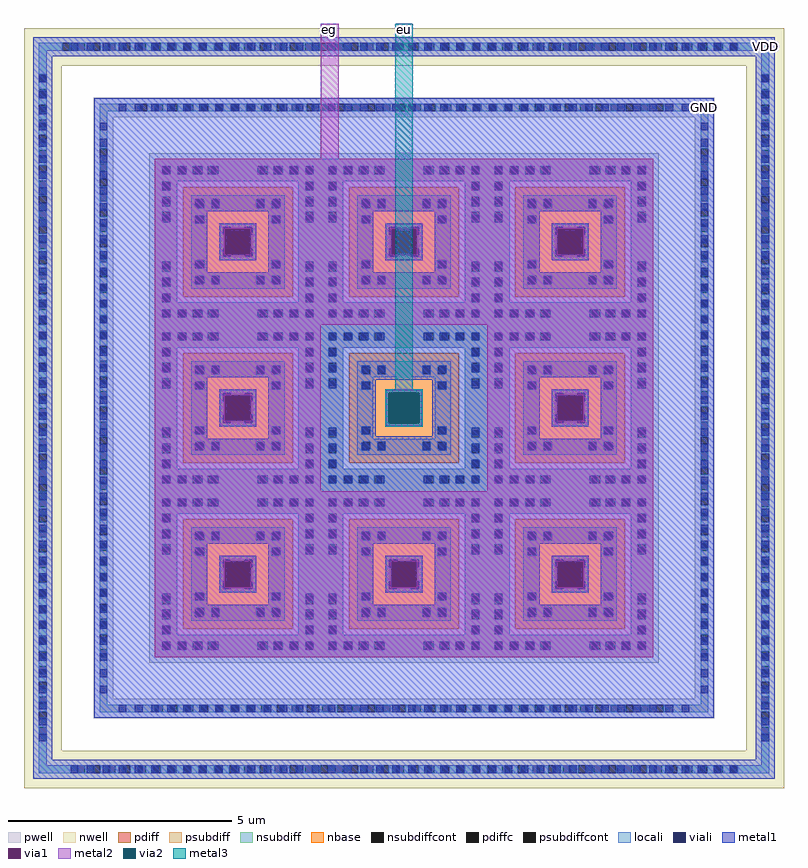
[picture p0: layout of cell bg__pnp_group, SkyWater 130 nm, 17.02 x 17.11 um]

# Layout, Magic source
magic
tech sky130A
magscale 1 2
<< metal1 >>
rect 42 3278 3362 3362
rect 42 126 126 3278
rect 314 2583 3090 3090
rect 314 2309 821 2583
rect 1095 2309 1565 2583
rect 1839 2309 2309 2583
rect 2583 2309 3090 2583
rect 314 1839 3090 2309
rect 314 1565 821 1839
rect 1095 1829 2309 1839
rect 1095 1575 1575 1829
rect 1829 1575 2309 1829
rect 1095 1565 2309 1575
rect 2583 1565 3090 1839
rect 314 1095 3090 1565
rect 314 821 821 1095
rect 1095 821 1565 1095
rect 1839 821 2309 1095
rect 2583 821 3090 1095
rect 314 314 3090 821
rect 3278 126 3362 3278
rect 42 42 3362 126
<< via1 >>
rect 900 2388 1016 2504
rect 1644 2388 1760 2504
rect 2388 2388 2504 2504
rect 900 1644 1016 1760
rect 1644 1644 1760 1760
rect 2388 1644 2504 1760
rect 900 900 1016 1016
rect 1644 900 1760 1016
rect 2388 900 2504 1016
<< metal2 >>
rect 1330 2818 1410 3422
rect 586 2504 2818 2818
rect 586 2388 900 2504
rect 1016 2388 1644 2504
rect 1760 2388 2388 2504
rect 2504 2388 2818 2504
rect 586 2074 2818 2388
rect 586 1760 1330 2074
rect 586 1644 900 1760
rect 1016 1644 1330 1760
rect 586 1330 1330 1644
rect 1619 1770 1785 1785
rect 1619 1634 1634 1770
rect 1770 1634 1785 1770
rect 1619 1619 1785 1634
rect 2074 1760 2818 2074
rect 2074 1644 2388 1760
rect 2504 1644 2818 1760
rect 2074 1330 2818 1644
rect 586 1016 2818 1330
rect 586 900 900 1016
rect 1016 900 1644 1016
rect 1760 900 2388 1016
rect 2504 900 2818 1016
rect 586 586 2818 900
<< via2 >>
rect 1634 1760 1770 1770
rect 1634 1644 1644 1760
rect 1644 1644 1760 1760
rect 1760 1644 1770 1760
rect 1634 1634 1770 1644
<< metal3 >>
rect 1662 1785 1742 3422
rect 1619 1770 1785 1785
rect 1619 1634 1634 1770
rect 1770 1634 1785 1770
rect 1619 1619 1785 1634
use bgpg__Guardring_N  bgpg__Guardring_N_0
transform 1 0 586 0 1 586
box -273 -273 2505 2505
use bgpg__Guardring_P  bgpg__Guardring_P_0
transform 1 0 314 0 1 294
box -314 -294 3090 3110
use bgpg__pnp  bgpg__pnp_0
transform 1 0 2048 0 1 560
box 0 0 796 796
use bgpg__pnp  bgpg__pnp_1
transform 1 0 560 0 1 560
box 0 0 796 796
use bgpg__pnp  bgpg__pnp_2
transform 1 0 560 0 1 2048
box 0 0 796 796
use bgpg__pnp  bgpg__pnp_3
transform 1 0 2048 0 1 2048
box 0 0 796 796
use bgpg__pnp  bgpg__pnp_4
transform 1 0 2048 0 1 1304
box 0 0 796 796
use bgpg__pnp  bgpg__pnp_5
transform 1 0 1304 0 1 2048
box 0 0 796 796
use bgpg__pnp  bgpg__pnp_6
transform 1 0 1304 0 1 1304
box 0 0 796 796
use bgpg__pnp  bgpg__pnp_7
transform 1 0 560 0 1 1304
box 0 0 796 796
use bgpg__pnp  bgpg__pnp_8
transform 1 0 1304 0 1 560
box 0 0 796 796
use via__LI_M1  via__LI_M1_0
transform 0 1 3297 -1 0 321
box -6 -6 124 52
use via__LI_M1  via__LI_M1_1
transform 0 1 3297 -1 0 465
box -6 -6 124 52
use via__LI_M1  via__LI_M1_2
transform 0 1 3297 -1 0 609
box -6 -6 124 52
use via__LI_M1  via__LI_M1_3
transform 0 1 3297 -1 0 753
box -6 -6 124 52
use via__LI_M1  via__LI_M1_4
transform 0 1 3297 -1 0 897
box -6 -6 124 52
use via__LI_M1  via__LI_M1_5
transform 0 1 3297 -1 0 1041
box -6 -6 124 52
use via__LI_M1  via__LI_M1_6
transform 0 1 3297 -1 0 1185
box -6 -6 124 52
use via__LI_M1  via__LI_M1_7
transform 0 1 3297 -1 0 1329
box -6 -6 124 52
use via__LI_M1  via__LI_M1_8
transform 0 1 3297 -1 0 1473
box -6 -6 124 52
use via__LI_M1  via__LI_M1_9
transform 0 1 3297 -1 0 1617
box -6 -6 124 52
use via__LI_M1  via__LI_M1_10
transform 1 0 2075 0 1 61
box -6 -6 124 52
use via__LI_M1  via__LI_M1_11
transform 1 0 1931 0 1 61
box -6 -6 124 52
use via__LI_M1  via__LI_M1_12
transform 1 0 1787 0 1 61
box -6 -6 124 52
use via__LI_M1  via__LI_M1_13
transform 0 1 3025 -1 0 1113
box -6 -6 124 52
use via__LI_M1  via__LI_M1_14
transform 0 1 3025 -1 0 969
box -6 -6 124 52
use via__LI_M1  via__LI_M1_15
transform 0 1 3025 -1 0 825
box -6 -6 124 52
use via__LI_M1  via__LI_M1_16
transform 0 1 3025 -1 0 681
box -6 -6 124 52
use via__LI_M1  via__LI_M1_17
transform 1 0 2579 0 1 333
box -6 -6 124 52
use via__LI_M1  via__LI_M1_18
transform 1 0 2435 0 1 333
box -6 -6 124 52
use via__LI_M1  via__LI_M1_19
transform 1 0 2291 0 1 333
box -6 -6 124 52
use via__LI_M1  via__LI_M1_20
transform 1 0 2147 0 1 333
box -6 -6 124 52
use via__LI_M1  via__LI_M1_21
transform 1 0 2003 0 1 333
box -6 -6 124 52
use via__LI_M1  via__LI_M1_22
transform 1 0 1859 0 1 333
box -6 -6 124 52
use via__LI_M1  via__LI_M1_23
transform 1 0 1715 0 1 333
box -6 -6 124 52
use via__LI_M1  via__LI_M1_24
transform 0 1 3025 -1 0 537
box -6 -6 124 52
use via__LI_M1  via__LI_M1_25
transform 1 0 2867 0 1 333
box -6 -6 124 52
use via__LI_M1  via__LI_M1_26
transform 1 0 2723 0 1 333
box -6 -6 124 52
use via__LI_M1  via__LI_M1_27
transform 0 1 3025 -1 0 1689
box -6 -6 124 52
use via__LI_M1  via__LI_M1_28
transform 0 1 3025 -1 0 1545
box -6 -6 124 52
use via__LI_M1  via__LI_M1_29
transform 0 1 3025 -1 0 1401
box -6 -6 124 52
use via__LI_M1  via__LI_M1_30
transform 0 1 3025 -1 0 1257
box -6 -6 124 52
use via__LI_M1  via__LI_M1_31
transform 1 0 3083 0 1 61
box -6 -6 124 52
use via__LI_M1  via__LI_M1_32
transform 1 0 2939 0 1 61
box -6 -6 124 52
use via__LI_M1  via__LI_M1_33
transform 1 0 2795 0 1 61
box -6 -6 124 52
use via__LI_M1  via__LI_M1_34
transform 1 0 2651 0 1 61
box -6 -6 124 52
use via__LI_M1  via__LI_M1_35
transform 1 0 2507 0 1 61
box -6 -6 124 52
use via__LI_M1  via__LI_M1_36
transform 1 0 2363 0 1 61
box -6 -6 124 52
use via__LI_M1  via__LI_M1_37
transform 1 0 2219 0 1 61
box -6 -6 124 52
use via__LI_M1  via__LI_M1_38
transform 0 1 333 -1 0 537
box -6 -6 124 52
use via__LI_M1  via__LI_M1_39
transform 0 1 61 -1 0 321
box -6 -6 124 52
use via__LI_M1  via__LI_M1_40
transform 0 1 61 -1 0 465
box -6 -6 124 52
use via__LI_M1  via__LI_M1_41
transform 0 1 61 -1 0 609
box -6 -6 124 52
use via__LI_M1  via__LI_M1_42
transform 0 1 61 -1 0 753
box -6 -6 124 52
use via__LI_M1  via__LI_M1_43
transform 0 1 61 -1 0 897
box -6 -6 124 52
use via__LI_M1  via__LI_M1_44
transform 0 1 61 -1 0 1041
box -6 -6 124 52
use via__LI_M1  via__LI_M1_45
transform 0 1 61 -1 0 1185
box -6 -6 124 52
use via__LI_M1  via__LI_M1_46
transform 0 1 61 -1 0 1329
box -6 -6 124 52
use via__LI_M1  via__LI_M1_47
transform 0 1 61 -1 0 1473
box -6 -6 124 52
use via__LI_M1  via__LI_M1_48
transform 0 1 61 -1 0 1617
box -6 -6 124 52
use via__LI_M1  via__LI_M1_49
transform 1 0 419 0 1 333
box -6 -6 124 52
use via__LI_M1  via__LI_M1_50
transform 0 1 333 -1 0 1113
box -6 -6 124 52
use via__LI_M1  via__LI_M1_51
transform 0 1 333 -1 0 969
box -6 -6 124 52
use via__LI_M1  via__LI_M1_52
transform 0 1 333 -1 0 825
box -6 -6 124 52
use via__LI_M1  via__LI_M1_53
transform 0 1 333 -1 0 681
box -6 -6 124 52
use via__LI_M1  via__LI_M1_54
transform 1 0 1499 0 1 61
box -6 -6 124 52
use via__LI_M1  via__LI_M1_55
transform 1 0 1355 0 1 61
box -6 -6 124 52
use via__LI_M1  via__LI_M1_56
transform 1 0 1211 0 1 61
box -6 -6 124 52
use via__LI_M1  via__LI_M1_57
transform 1 0 1067 0 1 61
box -6 -6 124 52
use via__LI_M1  via__LI_M1_58
transform 1 0 923 0 1 61
box -6 -6 124 52
use via__LI_M1  via__LI_M1_59
transform 1 0 779 0 1 61
box -6 -6 124 52
use via__LI_M1  via__LI_M1_60
transform 1 0 635 0 1 61
box -6 -6 124 52
use via__LI_M1  via__LI_M1_61
transform 1 0 491 0 1 61
box -6 -6 124 52
use via__LI_M1  via__LI_M1_62
transform 1 0 347 0 1 61
box -6 -6 124 52
use via__LI_M1  via__LI_M1_63
transform 1 0 203 0 1 61
box -6 -6 124 52
use via__LI_M1  via__LI_M1_64
transform 1 0 995 0 1 333
box -6 -6 124 52
use via__LI_M1  via__LI_M1_65
transform 1 0 851 0 1 333
box -6 -6 124 52
use via__LI_M1  via__LI_M1_66
transform 1 0 707 0 1 333
box -6 -6 124 52
use via__LI_M1  via__LI_M1_67
transform 1 0 563 0 1 333
box -6 -6 124 52
use via__LI_M1  via__LI_M1_68
transform 1 0 1571 0 1 333
box -6 -6 124 52
use via__LI_M1  via__LI_M1_69
transform 1 0 1427 0 1 333
box -6 -6 124 52
use via__LI_M1  via__LI_M1_70
transform 1 0 1283 0 1 333
box -6 -6 124 52
use via__LI_M1  via__LI_M1_71
transform 1 0 1139 0 1 333
box -6 -6 124 52
use via__LI_M1  via__LI_M1_72
transform 0 1 333 -1 0 1689
box -6 -6 124 52
use via__LI_M1  via__LI_M1_73
transform 0 1 333 -1 0 1545
box -6 -6 124 52
use via__LI_M1  via__LI_M1_74
transform 0 1 333 -1 0 1401
box -6 -6 124 52
use via__LI_M1  via__LI_M1_75
transform 0 1 333 -1 0 1257
box -6 -6 124 52
use via__LI_M1  via__LI_M1_76
transform 0 1 61 -1 0 1905
box -6 -6 124 52
use via__LI_M1  via__LI_M1_77
transform 0 1 61 -1 0 2049
box -6 -6 124 52
use via__LI_M1  via__LI_M1_78
transform 0 1 61 -1 0 2193
box -6 -6 124 52
use via__LI_M1  via__LI_M1_79
transform 0 1 61 -1 0 2337
box -6 -6 124 52
use via__LI_M1  via__LI_M1_80
transform 0 1 61 -1 0 2481
box -6 -6 124 52
use via__LI_M1  via__LI_M1_81
transform 0 1 61 -1 0 2625
box -6 -6 124 52
use via__LI_M1  via__LI_M1_82
transform 0 1 61 -1 0 2769
box -6 -6 124 52
use via__LI_M1  via__LI_M1_83
transform 0 1 61 -1 0 2913
box -6 -6 124 52
use via__LI_M1  via__LI_M1_84
transform 0 1 61 -1 0 3057
box -6 -6 124 52
use via__LI_M1  via__LI_M1_85
transform 0 1 61 -1 0 3201
box -6 -6 124 52
use via__LI_M1  via__LI_M1_86
transform 1 0 1139 0 1 3025
box -6 -6 124 52
use via__LI_M1  via__LI_M1_87
transform 1 0 995 0 1 3025
box -6 -6 124 52
use via__LI_M1  via__LI_M1_88
transform 1 0 851 0 1 3025
box -6 -6 124 52
use via__LI_M1  via__LI_M1_89
transform 1 0 707 0 1 3025
box -6 -6 124 52
use via__LI_M1  via__LI_M1_90
transform 1 0 563 0 1 3025
box -6 -6 124 52
use via__LI_M1  via__LI_M1_91
transform 1 0 1499 0 1 3297
box -6 -6 124 52
use via__LI_M1  via__LI_M1_92
transform 1 0 1355 0 1 3297
box -6 -6 124 52
use via__LI_M1  via__LI_M1_93
transform 1 0 1211 0 1 3297
box -6 -6 124 52
use via__LI_M1  via__LI_M1_94
transform 1 0 1067 0 1 3297
box -6 -6 124 52
use via__LI_M1  via__LI_M1_95
transform 1 0 923 0 1 3297
box -6 -6 124 52
use via__LI_M1  via__LI_M1_96
transform 1 0 779 0 1 3297
box -6 -6 124 52
use via__LI_M1  via__LI_M1_97
transform 1 0 635 0 1 3297
box -6 -6 124 52
use via__LI_M1  via__LI_M1_98
transform 1 0 491 0 1 3297
box -6 -6 124 52
use via__LI_M1  via__LI_M1_99
transform 1 0 347 0 1 3297
box -6 -6 124 52
use via__LI_M1  via__LI_M1_100
transform 1 0 203 0 1 3297
box -6 -6 124 52
use via__LI_M1  via__LI_M1_101
transform 0 1 333 -1 0 2841
box -6 -6 124 52
use via__LI_M1  via__LI_M1_102
transform 0 1 333 -1 0 2697
box -6 -6 124 52
use via__LI_M1  via__LI_M1_103
transform 0 1 333 -1 0 2553
box -6 -6 124 52
use via__LI_M1  via__LI_M1_104
transform 0 1 333 -1 0 2409
box -6 -6 124 52
use via__LI_M1  via__LI_M1_105
transform 0 1 333 -1 0 2265
box -6 -6 124 52
use via__LI_M1  via__LI_M1_106
transform 0 1 333 -1 0 2121
box -6 -6 124 52
use via__LI_M1  via__LI_M1_107
transform 0 1 333 -1 0 1977
box -6 -6 124 52
use via__LI_M1  via__LI_M1_108
transform 0 1 333 -1 0 1833
box -6 -6 124 52
use via__LI_M1  via__LI_M1_109
transform 1 0 419 0 1 3025
box -6 -6 124 52
use via__LI_M1  via__LI_M1_110
transform 0 1 333 -1 0 2985
box -6 -6 124 52
use via__LI_M1  via__LI_M1_111
transform 1 0 1571 0 1 3025
box -6 -6 124 52
use via__LI_M1  via__LI_M1_112
transform 1 0 1427 0 1 3025
box -6 -6 124 52
use via__LI_M1  via__LI_M1_113
transform 1 0 1283 0 1 3025
box -6 -6 124 52
use via__LI_M1  via__LI_M1_114
transform 0 1 3025 -1 0 2265
box -6 -6 124 52
use via__LI_M1  via__LI_M1_115
transform 0 1 3297 -1 0 1905
box -6 -6 124 52
use via__LI_M1  via__LI_M1_116
transform 0 1 3297 -1 0 2049
box -6 -6 124 52
use via__LI_M1  via__LI_M1_117
transform 0 1 3297 -1 0 2193
box -6 -6 124 52
use via__LI_M1  via__LI_M1_118
transform 0 1 3297 -1 0 2337
box -6 -6 124 52
use via__LI_M1  via__LI_M1_119
transform 0 1 3297 -1 0 2481
box -6 -6 124 52
use via__LI_M1  via__LI_M1_120
transform 0 1 3297 -1 0 2625
box -6 -6 124 52
use via__LI_M1  via__LI_M1_121
transform 0 1 3297 -1 0 2769
box -6 -6 124 52
use via__LI_M1  via__LI_M1_122
transform 0 1 3297 -1 0 2913
box -6 -6 124 52
use via__LI_M1  via__LI_M1_123
transform 0 1 3297 -1 0 3057
box -6 -6 124 52
use via__LI_M1  via__LI_M1_124
transform 0 1 3297 -1 0 3201
box -6 -6 124 52
use via__LI_M1  via__LI_M1_125
transform 0 1 3025 -1 0 2121
box -6 -6 124 52
use via__LI_M1  via__LI_M1_126
transform 0 1 3025 -1 0 1977
box -6 -6 124 52
use via__LI_M1  via__LI_M1_127
transform 1 0 3083 0 1 3297
box -6 -6 124 52
use via__LI_M1  via__LI_M1_128
transform 1 0 2939 0 1 3297
box -6 -6 124 52
use via__LI_M1  via__LI_M1_129
transform 1 0 2795 0 1 3297
box -6 -6 124 52
use via__LI_M1  via__LI_M1_130
transform 1 0 2651 0 1 3297
box -6 -6 124 52
use via__LI_M1  via__LI_M1_131
transform 1 0 2507 0 1 3297
box -6 -6 124 52
use via__LI_M1  via__LI_M1_132
transform 1 0 2363 0 1 3297
box -6 -6 124 52
use via__LI_M1  via__LI_M1_133
transform 1 0 2219 0 1 3297
box -6 -6 124 52
use via__LI_M1  via__LI_M1_134
transform 1 0 2075 0 1 3297
box -6 -6 124 52
use via__LI_M1  via__LI_M1_135
transform 1 0 1931 0 1 3297
box -6 -6 124 52
use via__LI_M1  via__LI_M1_136
transform 1 0 1787 0 1 3297
box -6 -6 124 52
use via__LI_M1  via__LI_M1_137
transform 0 1 3025 -1 0 1833
box -6 -6 124 52
use via__LI_M1  via__LI_M1_138
transform 1 0 2867 0 1 3025
box -6 -6 124 52
use via__LI_M1  via__LI_M1_139
transform 1 0 2723 0 1 3025
box -6 -6 124 52
use via__LI_M1  via__LI_M1_140
transform 1 0 2579 0 1 3025
box -6 -6 124 52
use via__LI_M1  via__LI_M1_141
transform 1 0 2435 0 1 3025
box -6 -6 124 52
use via__LI_M1  via__LI_M1_142
transform 1 0 2291 0 1 3025
box -6 -6 124 52
use via__LI_M1  via__LI_M1_143
transform 1 0 2147 0 1 3025
box -6 -6 124 52
use via__LI_M1  via__LI_M1_144
transform 1 0 2003 0 1 3025
box -6 -6 124 52
use via__LI_M1  via__LI_M1_145
transform 1 0 1859 0 1 3025
box -6 -6 124 52
use via__LI_M1  via__LI_M1_146
transform 1 0 1715 0 1 3025
box -6 -6 124 52
use via__LI_M1  via__LI_M1_147
transform 0 1 3025 -1 0 2985
box -6 -6 124 52
use via__LI_M1  via__LI_M1_148
transform 0 1 3025 -1 0 2841
box -6 -6 124 52
use via__LI_M1  via__LI_M1_149
transform 0 1 3025 -1 0 2697
box -6 -6 124 52
use via__LI_M1  via__LI_M1_150
transform 0 1 3025 -1 0 2553
box -6 -6 124 52
use via__LI_M1  via__LI_M1_151
transform 0 1 3025 -1 0 2409
box -6 -6 124 52
use via__LI_M1  via__LI_M1_152
transform 0 1 3297 -1 0 1761
box -6 -6 124 52
use via__LI_M1  via__LI_M1_153
transform 0 1 61 -1 0 1761
box -6 -6 124 52
use via__LI_M1  via__LI_M1_154
transform 1 0 1643 0 1 61
box -6 -6 124 52
use via__LI_M1  via__LI_M1_155
transform 1 0 1643 0 1 3297
box -6 -6 124 52
<< labels >>
flabel metal1 s 3006 3006 3090 3090 1 FreeSans 100 0 0 0 GND
port 3 nsew
flabel metal1 s 3278 3278 3362 3362 1 FreeSans 100 0 0 0 VDD
port 5 nsew
flabel metal2 s 1330 3373 1410 3422 1 FreeSans 100 0 0 0 eg
port 7 nsew
flabel metal3 s 1662 3373 1742 3422 1 FreeSans 100 0 0 0 eu
port 9 nsew
<< properties >>
string FIXED_BBOX 31 31 3373 3373
<< end >>

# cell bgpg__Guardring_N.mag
magic
tech sky130A
magscale 1 2
<< pwell >>
rect -273 2419 2505 2505
rect -273 -187 -187 2419
rect 2419 -187 2505 2419
rect -273 -273 2505 -187
<< psubdiff >>
rect -247 2445 -67 2479
rect -33 2445 1 2479
rect 35 2445 69 2479
rect 103 2445 137 2479
rect 171 2445 205 2479
rect 239 2445 273 2479
rect 307 2445 341 2479
rect 375 2445 409 2479
rect 443 2445 477 2479
rect 511 2445 545 2479
rect 579 2445 613 2479
rect 647 2445 681 2479
rect 715 2445 749 2479
rect 783 2445 817 2479
rect 851 2445 885 2479
rect 919 2445 953 2479
rect 987 2445 1021 2479
rect 1055 2445 1089 2479
rect 1123 2445 1157 2479
rect 1191 2445 1225 2479
rect 1259 2445 1293 2479
rect 1327 2445 1361 2479
rect 1395 2445 1429 2479
rect 1463 2445 1497 2479
rect 1531 2445 1565 2479
rect 1599 2445 1633 2479
rect 1667 2445 1701 2479
rect 1735 2445 1769 2479
rect 1803 2445 1837 2479
rect 1871 2445 1905 2479
rect 1939 2445 1973 2479
rect 2007 2445 2041 2479
rect 2075 2445 2109 2479
rect 2143 2445 2177 2479
rect 2211 2445 2245 2479
rect 2279 2445 2479 2479
rect -247 2279 -213 2445
rect -247 2211 -213 2245
rect -247 2143 -213 2177
rect -247 2075 -213 2109
rect -247 2007 -213 2041
rect -247 1939 -213 1973
rect -247 1871 -213 1905
rect -247 1803 -213 1837
rect -247 1735 -213 1769
rect -247 1667 -213 1701
rect -247 1599 -213 1633
rect -247 1531 -213 1565
rect -247 1463 -213 1497
rect -247 1395 -213 1429
rect -247 1327 -213 1361
rect -247 1259 -213 1293
rect -247 1191 -213 1225
rect -247 1123 -213 1157
rect -247 1055 -213 1089
rect -247 987 -213 1021
rect -247 919 -213 953
rect -247 851 -213 885
rect -247 783 -213 817
rect -247 715 -213 749
rect -247 647 -213 681
rect -247 579 -213 613
rect -247 511 -213 545
rect -247 443 -213 477
rect -247 375 -213 409
rect -247 307 -213 341
rect -247 239 -213 273
rect -247 171 -213 205
rect -247 103 -213 137
rect -247 35 -213 69
rect -247 -213 -213 1
rect 2445 2279 2479 2445
rect 2445 2211 2479 2245
rect 2445 2143 2479 2177
rect 2445 2075 2479 2109
rect 2445 2007 2479 2041
rect 2445 1939 2479 1973
rect 2445 1871 2479 1905
rect 2445 1803 2479 1837
rect 2445 1735 2479 1769
rect 2445 1667 2479 1701
rect 2445 1599 2479 1633
rect 2445 1531 2479 1565
rect 2445 1463 2479 1497
rect 2445 1395 2479 1429
rect 2445 1327 2479 1361
rect 2445 1259 2479 1293
rect 2445 1191 2479 1225
rect 2445 1123 2479 1157
rect 2445 1055 2479 1089
rect 2445 987 2479 1021
rect 2445 919 2479 953
rect 2445 851 2479 885
rect 2445 783 2479 817
rect 2445 715 2479 749
rect 2445 647 2479 681
rect 2445 579 2479 613
rect 2445 511 2479 545
rect 2445 443 2479 477
rect 2445 375 2479 409
rect 2445 307 2479 341
rect 2445 239 2479 273
rect 2445 171 2479 205
rect 2445 103 2479 137
rect 2445 35 2479 69
rect 2445 -213 2479 1
rect -247 -247 1 -213
rect 35 -247 69 -213
rect 103 -247 137 -213
rect 171 -247 205 -213
rect 239 -247 273 -213
rect 307 -247 341 -213
rect 375 -247 409 -213
rect 443 -247 477 -213
rect 511 -247 545 -213
rect 579 -247 613 -213
rect 647 -247 681 -213
rect 715 -247 749 -213
rect 783 -247 817 -213
rect 851 -247 885 -213
rect 919 -247 953 -213
rect 987 -247 1021 -213
rect 1055 -247 1089 -213
rect 1123 -247 1157 -213
rect 1191 -247 1225 -213
rect 1259 -247 1293 -213
rect 1327 -247 1361 -213
rect 1395 -247 1429 -213
rect 1463 -247 1497 -213
rect 1531 -247 1565 -213
rect 1599 -247 1633 -213
rect 1667 -247 1701 -213
rect 1735 -247 1769 -213
rect 1803 -247 1837 -213
rect 1871 -247 1905 -213
rect 1939 -247 1973 -213
rect 2007 -247 2041 -213
rect 2075 -247 2109 -213
rect 2143 -247 2177 -213
rect 2211 -247 2245 -213
rect 2279 -247 2479 -213
<< psubdiffcont >>
rect -67 2445 -33 2479
rect 1 2445 35 2479
rect 69 2445 103 2479
rect 137 2445 171 2479
rect 205 2445 239 2479
rect 273 2445 307 2479
rect 341 2445 375 2479
rect 409 2445 443 2479
rect 477 2445 511 2479
rect 545 2445 579 2479
rect 613 2445 647 2479
rect 681 2445 715 2479
rect 749 2445 783 2479
rect 817 2445 851 2479
rect 885 2445 919 2479
rect 953 2445 987 2479
rect 1021 2445 1055 2479
rect 1089 2445 1123 2479
rect 1157 2445 1191 2479
rect 1225 2445 1259 2479
rect 1293 2445 1327 2479
rect 1361 2445 1395 2479
rect 1429 2445 1463 2479
rect 1497 2445 1531 2479
rect 1565 2445 1599 2479
rect 1633 2445 1667 2479
rect 1701 2445 1735 2479
rect 1769 2445 1803 2479
rect 1837 2445 1871 2479
rect 1905 2445 1939 2479
rect 1973 2445 2007 2479
rect 2041 2445 2075 2479
rect 2109 2445 2143 2479
rect 2177 2445 2211 2479
rect 2245 2445 2279 2479
rect -247 2245 -213 2279
rect -247 2177 -213 2211
rect -247 2109 -213 2143
rect -247 2041 -213 2075
rect -247 1973 -213 2007
rect -247 1905 -213 1939
rect -247 1837 -213 1871
rect -247 1769 -213 1803
rect -247 1701 -213 1735
rect -247 1633 -213 1667
rect -247 1565 -213 1599
rect -247 1497 -213 1531
rect -247 1429 -213 1463
rect -247 1361 -213 1395
rect -247 1293 -213 1327
rect -247 1225 -213 1259
rect -247 1157 -213 1191
rect -247 1089 -213 1123
rect -247 1021 -213 1055
rect -247 953 -213 987
rect -247 885 -213 919
rect -247 817 -213 851
rect -247 749 -213 783
rect -247 681 -213 715
rect -247 613 -213 647
rect -247 545 -213 579
rect -247 477 -213 511
rect -247 409 -213 443
rect -247 341 -213 375
rect -247 273 -213 307
rect -247 205 -213 239
rect -247 137 -213 171
rect -247 69 -213 103
rect -247 1 -213 35
rect 2445 2245 2479 2279
rect 2445 2177 2479 2211
rect 2445 2109 2479 2143
rect 2445 2041 2479 2075
rect 2445 1973 2479 2007
rect 2445 1905 2479 1939
rect 2445 1837 2479 1871
rect 2445 1769 2479 1803
rect 2445 1701 2479 1735
rect 2445 1633 2479 1667
rect 2445 1565 2479 1599
rect 2445 1497 2479 1531
rect 2445 1429 2479 1463
rect 2445 1361 2479 1395
rect 2445 1293 2479 1327
rect 2445 1225 2479 1259
rect 2445 1157 2479 1191
rect 2445 1089 2479 1123
rect 2445 1021 2479 1055
rect 2445 953 2479 987
rect 2445 885 2479 919
rect 2445 817 2479 851
rect 2445 749 2479 783
rect 2445 681 2479 715
rect 2445 613 2479 647
rect 2445 545 2479 579
rect 2445 477 2479 511
rect 2445 409 2479 443
rect 2445 341 2479 375
rect 2445 273 2479 307
rect 2445 205 2479 239
rect 2445 137 2479 171
rect 2445 69 2479 103
rect 2445 1 2479 35
rect 1 -247 35 -213
rect 69 -247 103 -213
rect 137 -247 171 -213
rect 205 -247 239 -213
rect 273 -247 307 -213
rect 341 -247 375 -213
rect 409 -247 443 -213
rect 477 -247 511 -213
rect 545 -247 579 -213
rect 613 -247 647 -213
rect 681 -247 715 -213
rect 749 -247 783 -213
rect 817 -247 851 -213
rect 885 -247 919 -213
rect 953 -247 987 -213
rect 1021 -247 1055 -213
rect 1089 -247 1123 -213
rect 1157 -247 1191 -213
rect 1225 -247 1259 -213
rect 1293 -247 1327 -213
rect 1361 -247 1395 -213
rect 1429 -247 1463 -213
rect 1497 -247 1531 -213
rect 1565 -247 1599 -213
rect 1633 -247 1667 -213
rect 1701 -247 1735 -213
rect 1769 -247 1803 -213
rect 1837 -247 1871 -213
rect 1905 -247 1939 -213
rect 1973 -247 2007 -213
rect 2041 -247 2075 -213
rect 2109 -247 2143 -213
rect 2177 -247 2211 -213
rect 2245 -247 2279 -213
<< locali >>
rect -247 2445 -67 2479
rect -33 2445 1 2479
rect 35 2445 69 2479
rect 103 2445 137 2479
rect 171 2445 205 2479
rect 239 2445 273 2479
rect 307 2445 341 2479
rect 375 2445 409 2479
rect 443 2445 477 2479
rect 511 2445 545 2479
rect 579 2445 613 2479
rect 647 2445 681 2479
rect 715 2445 749 2479
rect 783 2445 817 2479
rect 851 2445 885 2479
rect 919 2445 953 2479
rect 987 2445 1021 2479
rect 1055 2445 1089 2479
rect 1123 2445 1157 2479
rect 1191 2445 1225 2479
rect 1259 2445 1293 2479
rect 1327 2445 1361 2479
rect 1395 2445 1429 2479
rect 1463 2445 1497 2479
rect 1531 2445 1565 2479
rect 1599 2445 1633 2479
rect 1667 2445 1701 2479
rect 1735 2445 1769 2479
rect 1803 2445 1837 2479
rect 1871 2445 1905 2479
rect 1939 2445 1973 2479
rect 2007 2445 2041 2479
rect 2075 2445 2109 2479
rect 2143 2445 2177 2479
rect 2211 2445 2245 2479
rect 2279 2445 2479 2479
rect -247 2279 -213 2445
rect -247 2211 -213 2245
rect -247 2143 -213 2177
rect -247 2075 -213 2109
rect -247 2007 -213 2041
rect -247 1939 -213 1973
rect -247 1871 -213 1905
rect -247 1803 -213 1837
rect -247 1735 -213 1769
rect -247 1667 -213 1701
rect -247 1599 -213 1633
rect -247 1531 -213 1565
rect -247 1463 -213 1497
rect -247 1395 -213 1429
rect -247 1327 -213 1361
rect -247 1259 -213 1293
rect -247 1191 -213 1225
rect -247 1123 -213 1157
rect -247 1055 -213 1089
rect -247 987 -213 1021
rect -247 919 -213 953
rect -247 851 -213 885
rect -247 783 -213 817
rect -247 715 -213 749
rect -247 647 -213 681
rect -247 579 -213 613
rect -247 511 -213 545
rect -247 443 -213 477
rect -247 375 -213 409
rect -247 307 -213 341
rect -247 239 -213 273
rect -247 171 -213 205
rect -247 103 -213 137
rect -247 35 -213 69
rect -247 -213 -213 1
rect 2445 2279 2479 2445
rect 2445 2211 2479 2245
rect 2445 2143 2479 2177
rect 2445 2075 2479 2109
rect 2445 2007 2479 2041
rect 2445 1939 2479 1973
rect 2445 1871 2479 1905
rect 2445 1803 2479 1837
rect 2445 1735 2479 1769
rect 2445 1667 2479 1701
rect 2445 1599 2479 1633
rect 2445 1531 2479 1565
rect 2445 1463 2479 1497
rect 2445 1395 2479 1429
rect 2445 1327 2479 1361
rect 2445 1259 2479 1293
rect 2445 1191 2479 1225
rect 2445 1123 2479 1157
rect 2445 1055 2479 1089
rect 2445 987 2479 1021
rect 2445 919 2479 953
rect 2445 851 2479 885
rect 2445 783 2479 817
rect 2445 715 2479 749
rect 2445 647 2479 681
rect 2445 579 2479 613
rect 2445 511 2479 545
rect 2445 443 2479 477
rect 2445 375 2479 409
rect 2445 307 2479 341
rect 2445 239 2479 273
rect 2445 171 2479 205
rect 2445 103 2479 137
rect 2445 35 2479 69
rect 2445 -213 2479 1
rect -247 -247 1 -213
rect 35 -247 69 -213
rect 103 -247 137 -213
rect 171 -247 205 -213
rect 239 -247 273 -213
rect 307 -247 341 -213
rect 375 -247 409 -213
rect 443 -247 477 -213
rect 511 -247 545 -213
rect 579 -247 613 -213
rect 647 -247 681 -213
rect 715 -247 749 -213
rect 783 -247 817 -213
rect 851 -247 885 -213
rect 919 -247 953 -213
rect 987 -247 1021 -213
rect 1055 -247 1089 -213
rect 1123 -247 1157 -213
rect 1191 -247 1225 -213
rect 1259 -247 1293 -213
rect 1327 -247 1361 -213
rect 1395 -247 1429 -213
rect 1463 -247 1497 -213
rect 1531 -247 1565 -213
rect 1599 -247 1633 -213
rect 1667 -247 1701 -213
rect 1735 -247 1769 -213
rect 1803 -247 1837 -213
rect 1871 -247 1905 -213
rect 1939 -247 1973 -213
rect 2007 -247 2041 -213
rect 2075 -247 2109 -213
rect 2143 -247 2177 -213
rect 2211 -247 2245 -213
rect 2279 -247 2479 -213
<< properties >>
string path -6.800 61.550 61.550 61.550 61.550 -5.750 -5.750 -5.750 -5.750 61.550 
<< end >>

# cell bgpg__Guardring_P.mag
magic
tech sky130A
magscale 1 2
<< nwell >>
rect -314 2942 3090 3110
rect -314 -126 -146 2942
rect 2922 -126 3090 2942
rect -314 -294 3090 -126
<< nsubdiff >>
rect -247 3009 -143 3043
rect -109 3009 -75 3043
rect -41 3009 -7 3043
rect 27 3009 61 3043
rect 95 3009 129 3043
rect 163 3009 197 3043
rect 231 3009 265 3043
rect 299 3009 333 3043
rect 367 3009 401 3043
rect 435 3009 469 3043
rect 503 3009 537 3043
rect 571 3009 605 3043
rect 639 3009 673 3043
rect 707 3009 741 3043
rect 775 3009 809 3043
rect 843 3009 877 3043
rect 911 3009 945 3043
rect 979 3009 1013 3043
rect 1047 3009 1081 3043
rect 1115 3009 1149 3043
rect 1183 3009 1217 3043
rect 1251 3009 1285 3043
rect 1319 3009 1353 3043
rect 1387 3009 1421 3043
rect 1455 3009 1489 3043
rect 1523 3009 1557 3043
rect 1591 3009 1625 3043
rect 1659 3009 1693 3043
rect 1727 3009 1761 3043
rect 1795 3009 1829 3043
rect 1863 3009 1897 3043
rect 1931 3009 1965 3043
rect 1999 3009 2033 3043
rect 2067 3009 2101 3043
rect 2135 3009 2169 3043
rect 2203 3009 2237 3043
rect 2271 3009 2305 3043
rect 2339 3009 2373 3043
rect 2407 3009 2441 3043
rect 2475 3009 2509 3043
rect 2543 3009 2577 3043
rect 2611 3009 2645 3043
rect 2679 3009 2713 3043
rect 2747 3009 2781 3043
rect 2815 3009 2849 3043
rect 2883 3009 3023 3043
rect -247 2903 -213 3009
rect -247 2835 -213 2869
rect -247 2767 -213 2801
rect -247 2699 -213 2733
rect -247 2631 -213 2665
rect -247 2563 -213 2597
rect -247 2495 -213 2529
rect -247 2427 -213 2461
rect -247 2359 -213 2393
rect -247 2291 -213 2325
rect -247 2223 -213 2257
rect -247 2155 -213 2189
rect -247 2087 -213 2121
rect -247 2019 -213 2053
rect -247 1951 -213 1985
rect -247 1883 -213 1917
rect -247 1815 -213 1849
rect -247 1747 -213 1781
rect -247 1679 -213 1713
rect -247 1611 -213 1645
rect -247 1543 -213 1577
rect -247 1475 -213 1509
rect -247 1407 -213 1441
rect -247 1339 -213 1373
rect -247 1271 -213 1305
rect -247 1203 -213 1237
rect -247 1135 -213 1169
rect -247 1067 -213 1101
rect -247 999 -213 1033
rect -247 931 -213 965
rect -247 863 -213 897
rect -247 795 -213 829
rect -247 727 -213 761
rect -247 659 -213 693
rect -247 591 -213 625
rect -247 523 -213 557
rect -247 455 -213 489
rect -247 387 -213 421
rect -247 319 -213 353
rect -247 251 -213 285
rect -247 183 -213 217
rect -247 115 -213 149
rect -247 47 -213 81
rect -247 -21 -213 13
rect -247 -193 -213 -55
rect 2989 2903 3023 3009
rect 2989 2835 3023 2869
rect 2989 2767 3023 2801
rect 2989 2699 3023 2733
rect 2989 2631 3023 2665
rect 2989 2563 3023 2597
rect 2989 2495 3023 2529
rect 2989 2427 3023 2461
rect 2989 2359 3023 2393
rect 2989 2291 3023 2325
rect 2989 2223 3023 2257
rect 2989 2155 3023 2189
rect 2989 2087 3023 2121
rect 2989 2019 3023 2053
rect 2989 1951 3023 1985
rect 2989 1883 3023 1917
rect 2989 1815 3023 1849
rect 2989 1747 3023 1781
rect 2989 1679 3023 1713
rect 2989 1611 3023 1645
rect 2989 1543 3023 1577
rect 2989 1475 3023 1509
rect 2989 1407 3023 1441
rect 2989 1339 3023 1373
rect 2989 1271 3023 1305
rect 2989 1203 3023 1237
rect 2989 1135 3023 1169
rect 2989 1067 3023 1101
rect 2989 999 3023 1033
rect 2989 931 3023 965
rect 2989 863 3023 897
rect 2989 795 3023 829
rect 2989 727 3023 761
rect 2989 659 3023 693
rect 2989 591 3023 625
rect 2989 523 3023 557
rect 2989 455 3023 489
rect 2989 387 3023 421
rect 2989 319 3023 353
rect 2989 251 3023 285
rect 2989 183 3023 217
rect 2989 115 3023 149
rect 2989 47 3023 81
rect 2989 -21 3023 13
rect 2989 -193 3023 -55
rect -247 -227 -75 -193
rect -41 -227 -7 -193
rect 27 -227 61 -193
rect 95 -227 129 -193
rect 163 -227 197 -193
rect 231 -227 265 -193
rect 299 -227 333 -193
rect 367 -227 401 -193
rect 435 -227 469 -193
rect 503 -227 537 -193
rect 571 -227 605 -193
rect 639 -227 673 -193
rect 707 -227 741 -193
rect 775 -227 809 -193
rect 843 -227 877 -193
rect 911 -227 945 -193
rect 979 -227 1013 -193
rect 1047 -227 1081 -193
rect 1115 -227 1149 -193
rect 1183 -227 1217 -193
rect 1251 -227 1285 -193
rect 1319 -227 1353 -193
rect 1387 -227 1421 -193
rect 1455 -227 1489 -193
rect 1523 -227 1557 -193
rect 1591 -227 1625 -193
rect 1659 -227 1693 -193
rect 1727 -227 1761 -193
rect 1795 -227 1829 -193
rect 1863 -227 1897 -193
rect 1931 -227 1965 -193
rect 1999 -227 2033 -193
rect 2067 -227 2101 -193
rect 2135 -227 2169 -193
rect 2203 -227 2237 -193
rect 2271 -227 2305 -193
rect 2339 -227 2373 -193
rect 2407 -227 2441 -193
rect 2475 -227 2509 -193
rect 2543 -227 2577 -193
rect 2611 -227 2645 -193
rect 2679 -227 2713 -193
rect 2747 -227 2781 -193
rect 2815 -227 2849 -193
rect 2883 -227 3023 -193
<< nsubdiffcont >>
rect -143 3009 -109 3043
rect -75 3009 -41 3043
rect -7 3009 27 3043
rect 61 3009 95 3043
rect 129 3009 163 3043
rect 197 3009 231 3043
rect 265 3009 299 3043
rect 333 3009 367 3043
rect 401 3009 435 3043
rect 469 3009 503 3043
rect 537 3009 571 3043
rect 605 3009 639 3043
rect 673 3009 707 3043
rect 741 3009 775 3043
rect 809 3009 843 3043
rect 877 3009 911 3043
rect 945 3009 979 3043
rect 1013 3009 1047 3043
rect 1081 3009 1115 3043
rect 1149 3009 1183 3043
rect 1217 3009 1251 3043
rect 1285 3009 1319 3043
rect 1353 3009 1387 3043
rect 1421 3009 1455 3043
rect 1489 3009 1523 3043
rect 1557 3009 1591 3043
rect 1625 3009 1659 3043
rect 1693 3009 1727 3043
rect 1761 3009 1795 3043
rect 1829 3009 1863 3043
rect 1897 3009 1931 3043
rect 1965 3009 1999 3043
rect 2033 3009 2067 3043
rect 2101 3009 2135 3043
rect 2169 3009 2203 3043
rect 2237 3009 2271 3043
rect 2305 3009 2339 3043
rect 2373 3009 2407 3043
rect 2441 3009 2475 3043
rect 2509 3009 2543 3043
rect 2577 3009 2611 3043
rect 2645 3009 2679 3043
rect 2713 3009 2747 3043
rect 2781 3009 2815 3043
rect 2849 3009 2883 3043
rect -247 2869 -213 2903
rect -247 2801 -213 2835
rect -247 2733 -213 2767
rect -247 2665 -213 2699
rect -247 2597 -213 2631
rect -247 2529 -213 2563
rect -247 2461 -213 2495
rect -247 2393 -213 2427
rect -247 2325 -213 2359
rect -247 2257 -213 2291
rect -247 2189 -213 2223
rect -247 2121 -213 2155
rect -247 2053 -213 2087
rect -247 1985 -213 2019
rect -247 1917 -213 1951
rect -247 1849 -213 1883
rect -247 1781 -213 1815
rect -247 1713 -213 1747
rect -247 1645 -213 1679
rect -247 1577 -213 1611
rect -247 1509 -213 1543
rect -247 1441 -213 1475
rect -247 1373 -213 1407
rect -247 1305 -213 1339
rect -247 1237 -213 1271
rect -247 1169 -213 1203
rect -247 1101 -213 1135
rect -247 1033 -213 1067
rect -247 965 -213 999
rect -247 897 -213 931
rect -247 829 -213 863
rect -247 761 -213 795
rect -247 693 -213 727
rect -247 625 -213 659
rect -247 557 -213 591
rect -247 489 -213 523
rect -247 421 -213 455
rect -247 353 -213 387
rect -247 285 -213 319
rect -247 217 -213 251
rect -247 149 -213 183
rect -247 81 -213 115
rect -247 13 -213 47
rect -247 -55 -213 -21
rect 2989 2869 3023 2903
rect 2989 2801 3023 2835
rect 2989 2733 3023 2767
rect 2989 2665 3023 2699
rect 2989 2597 3023 2631
rect 2989 2529 3023 2563
rect 2989 2461 3023 2495
rect 2989 2393 3023 2427
rect 2989 2325 3023 2359
rect 2989 2257 3023 2291
rect 2989 2189 3023 2223
rect 2989 2121 3023 2155
rect 2989 2053 3023 2087
rect 2989 1985 3023 2019
rect 2989 1917 3023 1951
rect 2989 1849 3023 1883
rect 2989 1781 3023 1815
rect 2989 1713 3023 1747
rect 2989 1645 3023 1679
rect 2989 1577 3023 1611
rect 2989 1509 3023 1543
rect 2989 1441 3023 1475
rect 2989 1373 3023 1407
rect 2989 1305 3023 1339
rect 2989 1237 3023 1271
rect 2989 1169 3023 1203
rect 2989 1101 3023 1135
rect 2989 1033 3023 1067
rect 2989 965 3023 999
rect 2989 897 3023 931
rect 2989 829 3023 863
rect 2989 761 3023 795
rect 2989 693 3023 727
rect 2989 625 3023 659
rect 2989 557 3023 591
rect 2989 489 3023 523
rect 2989 421 3023 455
rect 2989 353 3023 387
rect 2989 285 3023 319
rect 2989 217 3023 251
rect 2989 149 3023 183
rect 2989 81 3023 115
rect 2989 13 3023 47
rect 2989 -55 3023 -21
rect -75 -227 -41 -193
rect -7 -227 27 -193
rect 61 -227 95 -193
rect 129 -227 163 -193
rect 197 -227 231 -193
rect 265 -227 299 -193
rect 333 -227 367 -193
rect 401 -227 435 -193
rect 469 -227 503 -193
rect 537 -227 571 -193
rect 605 -227 639 -193
rect 673 -227 707 -193
rect 741 -227 775 -193
rect 809 -227 843 -193
rect 877 -227 911 -193
rect 945 -227 979 -193
rect 1013 -227 1047 -193
rect 1081 -227 1115 -193
rect 1149 -227 1183 -193
rect 1217 -227 1251 -193
rect 1285 -227 1319 -193
rect 1353 -227 1387 -193
rect 1421 -227 1455 -193
rect 1489 -227 1523 -193
rect 1557 -227 1591 -193
rect 1625 -227 1659 -193
rect 1693 -227 1727 -193
rect 1761 -227 1795 -193
rect 1829 -227 1863 -193
rect 1897 -227 1931 -193
rect 1965 -227 1999 -193
rect 2033 -227 2067 -193
rect 2101 -227 2135 -193
rect 2169 -227 2203 -193
rect 2237 -227 2271 -193
rect 2305 -227 2339 -193
rect 2373 -227 2407 -193
rect 2441 -227 2475 -193
rect 2509 -227 2543 -193
rect 2577 -227 2611 -193
rect 2645 -227 2679 -193
rect 2713 -227 2747 -193
rect 2781 -227 2815 -193
rect 2849 -227 2883 -193
<< locali >>
rect -247 3009 -143 3043
rect -109 3009 -75 3043
rect -41 3009 -7 3043
rect 27 3009 61 3043
rect 95 3009 129 3043
rect 163 3009 197 3043
rect 231 3009 265 3043
rect 299 3009 333 3043
rect 367 3009 401 3043
rect 435 3009 469 3043
rect 503 3009 537 3043
rect 571 3009 605 3043
rect 639 3009 673 3043
rect 707 3009 741 3043
rect 775 3009 809 3043
rect 843 3009 877 3043
rect 911 3009 945 3043
rect 979 3009 1013 3043
rect 1047 3009 1081 3043
rect 1115 3009 1149 3043
rect 1183 3009 1217 3043
rect 1251 3009 1285 3043
rect 1319 3009 1353 3043
rect 1387 3009 1421 3043
rect 1455 3009 1489 3043
rect 1523 3009 1557 3043
rect 1591 3009 1625 3043
rect 1659 3009 1693 3043
rect 1727 3009 1761 3043
rect 1795 3009 1829 3043
rect 1863 3009 1897 3043
rect 1931 3009 1965 3043
rect 1999 3009 2033 3043
rect 2067 3009 2101 3043
rect 2135 3009 2169 3043
rect 2203 3009 2237 3043
rect 2271 3009 2305 3043
rect 2339 3009 2373 3043
rect 2407 3009 2441 3043
rect 2475 3009 2509 3043
rect 2543 3009 2577 3043
rect 2611 3009 2645 3043
rect 2679 3009 2713 3043
rect 2747 3009 2781 3043
rect 2815 3009 2849 3043
rect 2883 3009 3023 3043
rect -247 2903 -213 3009
rect -247 2835 -213 2869
rect -247 2767 -213 2801
rect -247 2699 -213 2733
rect -247 2631 -213 2665
rect -247 2563 -213 2597
rect -247 2495 -213 2529
rect -247 2427 -213 2461
rect -247 2359 -213 2393
rect -247 2291 -213 2325
rect -247 2223 -213 2257
rect -247 2155 -213 2189
rect -247 2087 -213 2121
rect -247 2019 -213 2053
rect -247 1951 -213 1985
rect -247 1883 -213 1917
rect -247 1815 -213 1849
rect -247 1747 -213 1781
rect -247 1679 -213 1713
rect -247 1611 -213 1645
rect -247 1543 -213 1577
rect -247 1475 -213 1509
rect -247 1407 -213 1441
rect -247 1339 -213 1373
rect -247 1271 -213 1305
rect -247 1203 -213 1237
rect -247 1135 -213 1169
rect -247 1067 -213 1101
rect -247 999 -213 1033
rect -247 931 -213 965
rect -247 863 -213 897
rect -247 795 -213 829
rect -247 727 -213 761
rect -247 659 -213 693
rect -247 591 -213 625
rect -247 523 -213 557
rect -247 455 -213 489
rect -247 387 -213 421
rect -247 319 -213 353
rect -247 251 -213 285
rect -247 183 -213 217
rect -247 115 -213 149
rect -247 47 -213 81
rect -247 -21 -213 13
rect -247 -193 -213 -55
rect 2989 2903 3023 3009
rect 2989 2835 3023 2869
rect 2989 2767 3023 2801
rect 2989 2699 3023 2733
rect 2989 2631 3023 2665
rect 2989 2563 3023 2597
rect 2989 2495 3023 2529
rect 2989 2427 3023 2461
rect 2989 2359 3023 2393
rect 2989 2291 3023 2325
rect 2989 2223 3023 2257
rect 2989 2155 3023 2189
rect 2989 2087 3023 2121
rect 2989 2019 3023 2053
rect 2989 1951 3023 1985
rect 2989 1883 3023 1917
rect 2989 1815 3023 1849
rect 2989 1747 3023 1781
rect 2989 1679 3023 1713
rect 2989 1611 3023 1645
rect 2989 1543 3023 1577
rect 2989 1475 3023 1509
rect 2989 1407 3023 1441
rect 2989 1339 3023 1373
rect 2989 1271 3023 1305
rect 2989 1203 3023 1237
rect 2989 1135 3023 1169
rect 2989 1067 3023 1101
rect 2989 999 3023 1033
rect 2989 931 3023 965
rect 2989 863 3023 897
rect 2989 795 3023 829
rect 2989 727 3023 761
rect 2989 659 3023 693
rect 2989 591 3023 625
rect 2989 523 3023 557
rect 2989 455 3023 489
rect 2989 387 3023 421
rect 2989 319 3023 353
rect 2989 251 3023 285
rect 2989 183 3023 217
rect 2989 115 3023 149
rect 2989 47 3023 81
rect 2989 -21 3023 13
rect 2989 -193 3023 -55
rect -247 -227 -75 -193
rect -41 -227 -7 -193
rect 27 -227 61 -193
rect 95 -227 129 -193
rect 163 -227 197 -193
rect 231 -227 265 -193
rect 299 -227 333 -193
rect 367 -227 401 -193
rect 435 -227 469 -193
rect 503 -227 537 -193
rect 571 -227 605 -193
rect 639 -227 673 -193
rect 707 -227 741 -193
rect 775 -227 809 -193
rect 843 -227 877 -193
rect 911 -227 945 -193
rect 979 -227 1013 -193
rect 1047 -227 1081 -193
rect 1115 -227 1149 -193
rect 1183 -227 1217 -193
rect 1251 -227 1285 -193
rect 1319 -227 1353 -193
rect 1387 -227 1421 -193
rect 1455 -227 1489 -193
rect 1523 -227 1557 -193
rect 1591 -227 1625 -193
rect 1659 -227 1693 -193
rect 1727 -227 1761 -193
rect 1795 -227 1829 -193
rect 1863 -227 1897 -193
rect 1931 -227 1965 -193
rect 1999 -227 2033 -193
rect 2067 -227 2101 -193
rect 2135 -227 2169 -193
rect 2203 -227 2237 -193
rect 2271 -227 2305 -193
rect 2339 -227 2373 -193
rect 2407 -227 2441 -193
rect 2475 -227 2509 -193
rect 2543 -227 2577 -193
rect 2611 -227 2645 -193
rect 2679 -227 2713 -193
rect 2747 -227 2781 -193
rect 2815 -227 2849 -193
rect 2883 -227 3023 -193
<< properties >>
string path -7.075 75.650 75.150 75.650 75.150 -5.250 -5.750 -5.250 -5.750 77.750 
<< end >>

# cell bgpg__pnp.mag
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
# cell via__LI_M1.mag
magic
tech sky130A
<< locali >>
rect 20 3 39 20
<< viali >>
rect 3 3 20 20
rect 39 3 56 20
<< metal1 >>
rect 0 20 59 23
rect 0 3 3 20
rect 20 3 39 20
rect 56 3 59 20
rect 0 0 59 3
<< end >>
